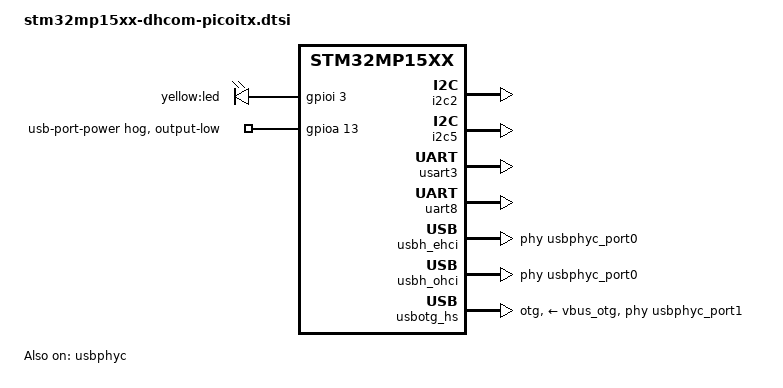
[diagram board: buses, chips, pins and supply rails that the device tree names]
// SPDX-License-Identifier: GPL-2.0+ OR BSD-3-Clause
/*
 * Copyright (C) 2020 Marek Vasut <marex@denx.de>
 */

#include <dt-bindings/input/input.h>
#include <dt-bindings/pwm/pwm.h>

/ {
	aliases {
		serial0 = &uart4;
		serial1 = &usart3;
		serial2 = &uart8;
	};

	chosen {
		stdout-path = "serial0:115200n8";
	};

	led {
		compatible = "gpio-leds";

		led-0 {
			label = "yellow:led";
			gpios = <&gpioi 3 GPIO_ACTIVE_HIGH>;
			default-state = "off";
		};
	};
};

&adc {
	status = "disabled";
};

&dac {
	status = "disabled";
};

&gpioa {
	/*
	 * NOTE: The USB Port on the PicoITX needs a PWR_EN signal to enable
	 * port power. This signal should be handled by USB power sequencing
	 * in order to turn on port power when USB bus is powered up, but so
	 * far there is no such functionality.
	 */
	usb-port-power-hog {
		gpio-hog;
		gpios = <13 0>;
		output-low;
		line-name = "usb-port-power";
	};
};

&gpioc {
	gpio-line-names = "", "", "", "",
			  "", "", "In1", "",
			  "", "", "", "",
			  "", "", "", "";
};

&gpiod {
	gpio-line-names = "", "", "", "",
			  "", "", "", "",
			  "", "", "", "Out1",
			  "Out2", "", "", "";
};

&gpiog {
	gpio-line-names = "In2", "", "", "",
			  "", "", "", "",
			  "", "", "", "",
			  "", "", "", "";
};

&i2c2 {	/* On board-to-board connector (optional) */
	pinctrl-names = "default";
	pinctrl-0 = <&i2c2_pins_a>;
	i2c-scl-rising-time-ns = <185>;
	i2c-scl-falling-time-ns = <20>;
	status = "okay";
	/* spare dmas for other usage */
	/delete-property/dmas;
	/delete-property/dma-names;
};

&i2c5 {	/* On board-to-board connector */
	pinctrl-names = "default";
	pinctrl-0 = <&i2c5_pins_a>;
	i2c-scl-rising-time-ns = <185>;
	i2c-scl-falling-time-ns = <20>;
	status = "okay";
	/* spare dmas for other usage */
	/delete-property/dmas;
	/delete-property/dma-names;
};

&usart3 {
	pinctrl-names = "default";
	pinctrl-0 = <&usart3_pins_a>;
	status = "okay";
};

&uart8 {
	pinctrl-names = "default";
	pinctrl-0 = <&uart8_pins_a &uart8_rtscts_pins_a>;
	status = "okay";
};

&usbh_ehci {
	phys = <&usbphyc_port0>;
	status = "okay";
};

&usbh_ohci {
	phys = <&usbphyc_port0>;
	status = "okay";
};

&usbotg_hs {
	dr_mode = "otg";
	pinctrl-0 = <&usbotg_hs_pins_a>;
	pinctrl-names = "default";
	phy-names = "usb2-phy";
	phys = <&usbphyc_port1 0>;
	vbus-supply = <&vbus_otg>;
	status = "okay";
};

&usbphyc {
	status = "okay";
};

&usbphyc_port0 {
	phy-supply = <&vdd_usb>;
	vdda1v1-supply = <&reg11>;
	vdda1v8-supply = <&reg18>;
};

&usbphyc_port1 {
	phy-supply = <&vdd_usb>;
	vdda1v1-supply = <&reg11>;
	vdda1v8-supply = <&reg18>;
};
